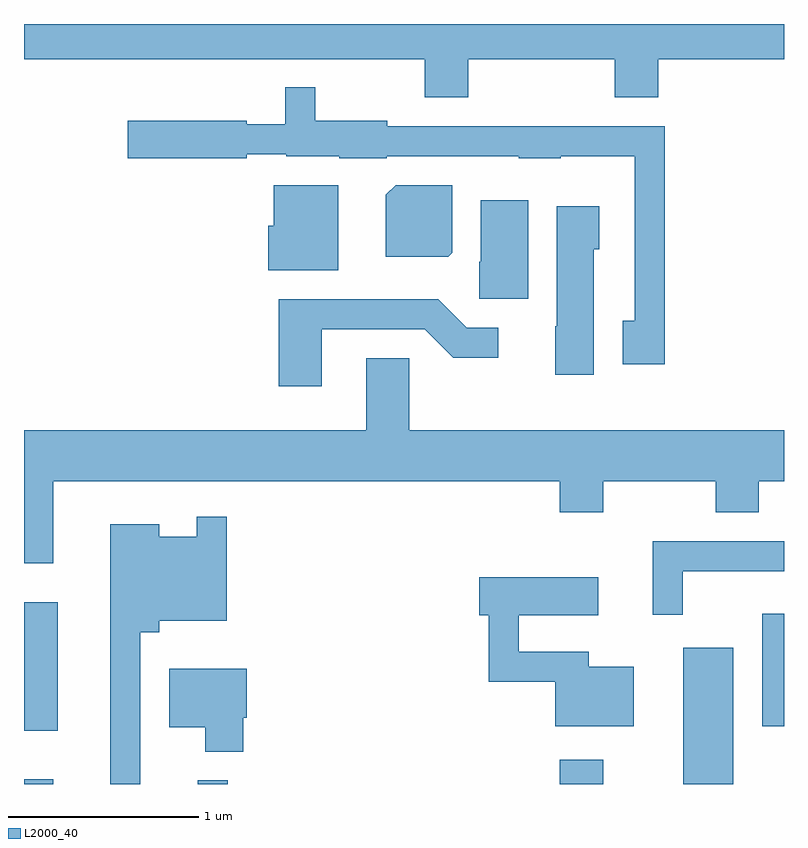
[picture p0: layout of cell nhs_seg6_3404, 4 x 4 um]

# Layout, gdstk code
import gdstk
lib = gdstk.Library(unit=1e-6, precision=1e-09)
def R(c, l, rs):  # rectangles x0, y0, x1, y1
    for r in rs: c.add(gdstk.rectangle(r[:2], r[2:], *l))
def P(c, l, *ps):  # polygons
    for p in ps: c.add(gdstk.Polygon(p, *l))
L2000_40 = (2000, 40)

nhs_seg6_3404 = lib.new_cell('nhs_seg6_3404')
R(nhs_seg6_3404, L2000_40, [(287.611,1606.162,287.764,1606.188), (288.526,1606.162,288.684,1606.183), (290.431,1606.162,290.659,1606.289), (291.081,1606.162,291.344,1606.879), (287.611,1606.441,287.789,1607.119), (291.496,1606.466,291.611,1607.059)])
P(nhs_seg6_3404, L2000_40, [(287.611,1609.976),(289.721,1609.976),(289.721,1609.776),(289.949,1609.776),(289.949,1609.976),(290.721,1609.976),(290.721,1609.776),(290.949,1609.776),(290.949,1609.976),(291.611,1609.976),(291.611,1610.162),(287.611,1610.162)],
  [(290.984,1609.624),(289.524,1609.624),(289.524,1609.654),(289.144,1609.654),(289.144,1609.828),(288.986,1609.828),(288.986,1609.634),(288.784,1609.634),(288.784,1609.654),(288.156,1609.654),(288.156,1609.456),(288.784,1609.456),(288.784,1609.476),(288.99,1609.476),(288.99,1609.466),(289.27,1609.466),(289.27,1609.456),(289.52,1609.456),(289.52,1609.466),(290.215,1609.466),(290.215,1609.456),(290.435,1609.456),(290.435,1609.466),(290.826,1609.466),(290.826,1608.599),(290.761,1608.599),(290.761,1608.371),(290.984,1608.371)],
  [(289.864,1608.957),(289.864,1609.314),(289.567,1609.314),(289.516,1609.264),(289.516,1608.936),(289.844,1608.936)],
  [(289.264,1609.314),(288.926,1609.314),(288.926,1609.099),(288.896,1609.099),(288.896,1608.866),(289.264,1608.866)],
  [(290.264,1609.234),(290.016,1609.234),(290.016,1608.91),(290.006,1608.91),(290.006,1608.716),(290.264,1608.716)],
  [(290.609,1608.976),(290.639,1608.976),(290.639,1609.204),(290.416,1609.204),(290.416,1608.57),(290.406,1608.57),(290.406,1608.316),(290.609,1608.316)],
  [(289.179,1608.556),(289.719,1608.556),(289.869,1608.406),(290.108,1608.406),(290.108,1608.564),(289.942,1608.564),(289.792,1608.714),(288.951,1608.714),(288.951,1608.256),(289.179,1608.256)],
  [(287.764,1607.756),(290.431,1607.756),(290.431,1607.591),(290.659,1607.591),(290.659,1607.756),(291.251,1607.756),(291.251,1607.591),(291.479,1607.591),(291.479,1607.756),(291.611,1607.756),(291.611,1608.024),(289.639,1608.024),(289.639,1608.404),(289.411,1608.404),(289.411,1608.024),(287.611,1608.024),(287.611,1607.323),(287.764,1607.323)],
  [(288.224,1606.961),(288.324,1606.961),(288.324,1607.021),(288.679,1607.021),(288.679,1607.568),(288.521,1607.568),(288.521,1607.464),(288.324,1607.464),(288.324,1607.529),(288.066,1607.529),(288.066,1606.162),(288.224,1606.162)],
  [(291.079,1607.281),(291.611,1607.281),(291.611,1607.439),(290.921,1607.439),(290.921,1607.053),(291.079,1607.053)],
  [(290.819,1606.779),(290.584,1606.779),(290.584,1606.859),(290.214,1606.859),(290.214,1607.051),(290.634,1607.051),(290.634,1607.249),(290.006,1607.249),(290.006,1607.051),(290.056,1607.051),(290.056,1606.701),(290.406,1606.701),(290.406,1606.466),(290.819,1606.466)],
  [(288.764,1606.511),(288.784,1606.511),(288.784,1606.769),(288.376,1606.769),(288.376,1606.461),(288.566,1606.461),(288.566,1606.331),(288.764,1606.331)])

lib.write_gds('nhs_seg6_3404.gds')
